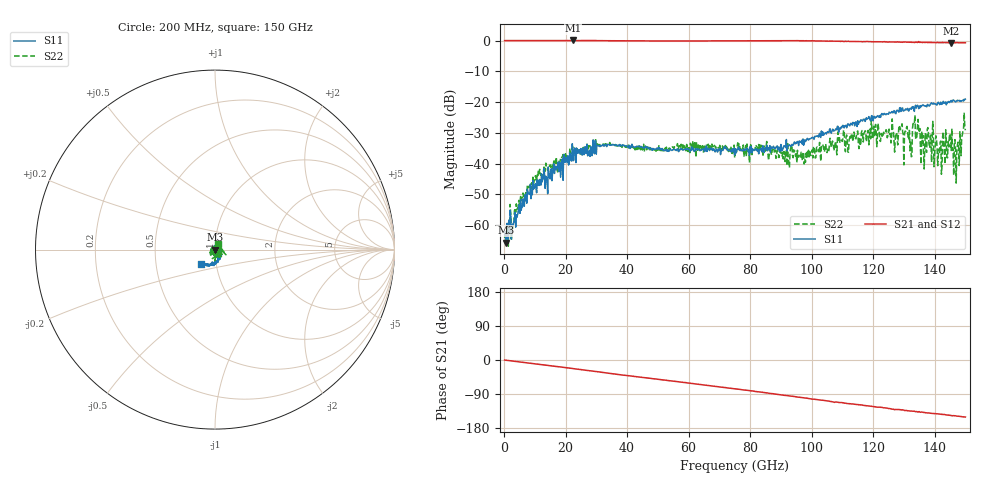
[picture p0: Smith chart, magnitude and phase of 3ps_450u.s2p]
!  2-Port S-parameters saved by WinCal
! VAR MeasName=S-Parameters (CALIBRATED_DATA) read from VNA (MS4647B)
! VAR MeasDate=16-Sep-21 11:47:30
! VAR NAME=3ps_450u
! VAR FILENAME=3ps_450u.S2P
! VAR DATE=16-Sep-21 11:47:30
! VAR PHYS_PORTS=1,2
! VAR ObjTypeName=DATASET
! VAR IndexType=Frequency
# Hz S RI R 50
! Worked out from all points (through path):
!   750 points, 200 MHz to 150 GHz, reference 50 ohm
!   highest |S21| = 0.05 dB at 22.4 GHz (marker M1); lowest = -0.7 dB at 145.4 GHz (marker M2)
!   group delay of S21, straight-line fit = 2.83 ps
!   lowest |S11| = -65.6 dB at 600 MHz (marker M3), VSWR 1.00, Z = 50 - j0.0223 ohm
!   |S11| at or under -10 dB: start of sweep to end of sweep
!   |S22| runs from -66.8 to -23.4 dB; largest |S21 - S12| = 0.042
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2e8  -0.000582 -0.000406  1.001 -0.00282  1 -0.00291  -0.000602 -0.000154
6e8  -0.000473 -0.000223  1.001 -0.00903  1 -0.0106  -0.000507 -0.000366
1.1e10  0.000233 -0.00448  0.9821 -0.1913  0.9817 -0.1903  -0.000288 -0.0064
2.24e10  -0.00439 -0.0158  0.9289 -0.3854  0.9297 -0.3821  -0.000724 -0.0186
2.52e10  -0.00402 -0.0135  0.9058 -0.4336  0.9068 -0.4307  -0.00293 -0.015
5.02e10  -0.0172 0.000964  0.6198 -0.7697  0.6161 -0.7739  -0.0138 -0.0115
7.52e10  -0.00785 0.0156  0.2392 -0.9638  0.2296 -0.9675  -0.0161 -0.00582
1.002e11  0.0263 -0.00353  -0.2246 -0.9671  -0.2325 -0.9647  0.0163 -0.00372
1.132e11  0.0259 -0.0336  -0.4273 -0.8718  -0.4392 -0.8631  0.0299 -0.00792
1.252e11  0.0117 -0.068  -0.5898 -0.7477  -0.5947 -0.7462  0.0232 -0.0282
1.274e11  0.00904 -0.0641  -0.6147 -0.7172  -0.6116 -0.7208  0.0188 -0.0247
1.29e11  -0.00264 -0.0705  -0.6209 -0.7077  -0.6411 -0.6934  0.0308 -0.0213
1.312e11  -0.00373 -0.0793  -0.6548 -0.6825  -0.6665 -0.6788  0.0264 -0.0227
1.32e11  -0.00515 -0.0786  -0.6647 -0.6702  -0.661 -0.6611  0.016 -0.00244
1.334e11  -0.0158 -0.0689  -0.6614 -0.6571  -0.6961 -0.6421  0.00361 -0.0438
1.36e11  -0.0273 -0.0841  -0.6869 -0.6252  -0.7071 -0.6138  0.00219 -0.0214
1.382e11  -0.0263 -0.082  -0.7142 -0.5972  -0.7204 -0.5897  0.0179 -0.00987
1.416e11  -0.0395 -0.082  -0.7362 -0.5644  -0.7529 -0.541  0.0101 -0.0102
1.454e11  -0.0592 -0.0885  -0.7685 -0.5036  -0.7769 -0.493  0.0164 -0.000292
1.464e11  -0.0617 -0.0855  -0.7751 -0.5005  -0.7927 -0.4766  0.0163 0.0133
1.474e11  -0.0646 -0.0855  -0.7895 -0.486  -0.7977 -0.4667  0.018 0.00844
1.5e11  -0.0801 -0.0779  -0.8032 -0.4552  -0.8081 -0.4436  0.0146 0.0318
